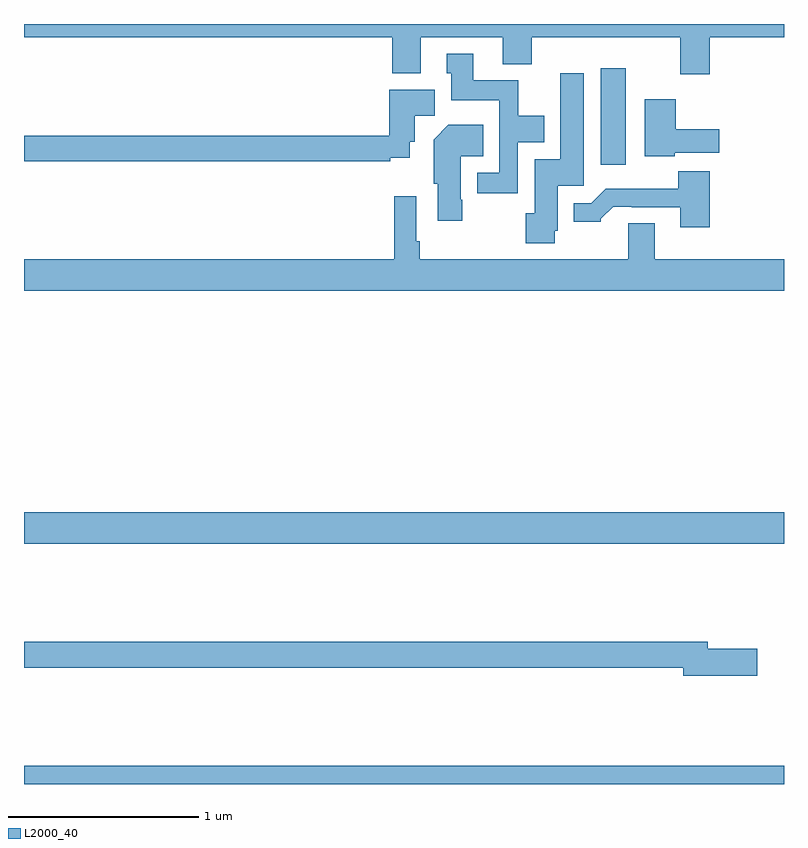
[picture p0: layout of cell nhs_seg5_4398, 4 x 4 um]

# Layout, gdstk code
import gdstk
lib = gdstk.Library(unit=1e-6, precision=1e-09)
def R(c, l, rs):  # rectangles x0, y0, x1, y1
    for r in rs: c.add(gdstk.rectangle(r[:2], r[2:], *l))
def P(c, l, *ps):  # polygons
    for p in ps: c.add(gdstk.Polygon(p, *l))
L2000_40 = (2000, 40)

nhs_seg5_4398 = lib.new_cell('nhs_seg5_4398')
R(nhs_seg5_4398, L2000_40, [(369,884.799,373,884.896), (369,886.064,373,886.228), (372.035,888.057,372.166,888.565)])
P(nhs_seg5_4398, L2000_40, [(372.608,888.728),(373,888.728),(373,888.799),(369,888.799),(369,888.728),(370.937,888.728),(370.937,888.539),(371.089,888.539),(371.089,888.728),(371.519,888.728),(371.519,888.587),(371.672,888.587),(371.672,888.728),(372.455,888.728),(372.455,888.534),(372.608,888.534)],
  [(371.598,888.176),(371.737,888.176),(371.737,888.316),(371.601,888.316),(371.601,888.502),(371.365,888.502),(371.365,888.643),(371.225,888.643),(371.225,888.54),(371.249,888.54),(371.249,888.398),(371.502,888.398),(371.502,888.015),(371.385,888.015),(371.385,887.907),(371.598,887.907)],
  [(371.793,887.712),(371.809,887.712),(371.809,887.949),(371.947,887.949),(371.947,888.541),(371.822,888.541),(371.822,888.088),(371.687,888.088),(371.687,887.802),(371.641,887.802),(371.641,887.646),(371.793,887.646)],
  [(370.928,888.095),(371.031,888.095),(371.031,888.18),(371.056,888.18),(371.056,888.316),(371.161,888.316),(371.161,888.454),(370.922,888.454),(370.922,888.212),(369,888.212),(369,888.076),(370.928,888.076)],
  [(372.426,888.122),(372.658,888.122),(372.658,888.244),(372.43,888.244),(372.43,888.403),(372.266,888.403),(372.266,888.104),(372.426,888.104)],
  [(371.307,887.875),(371.299,887.875),(371.299,888.104),(371.417,888.104),(371.417,888.268),(371.234,888.268),(371.156,888.19),(371.156,887.958),(371.177,887.958),(371.177,887.763),(371.307,887.763)],
  [(372.608,888.025),(372.443,888.025),(372.443,887.932),(372.061,887.932),(371.985,887.856),(371.894,887.856),(371.894,887.759),(372.036,887.759),(372.036,887.774),(372.1,887.838),(372.199,887.838),(372.199,887.835),(372.455,887.835),(372.455,887.73),(372.608,887.73)],
  [(373,887.56),(372.319,887.56),(372.319,887.75),(372.179,887.75),(372.179,887.56),(371.084,887.56),(371.084,887.656),(371.064,887.656),(371.064,887.893),(370.948,887.893),(370.948,887.56),(369,887.56),(369,887.396),(373,887.396)],
  [(372.859,885.512),(372.598,885.512),(372.598,885.548),(369,885.548),(369,885.412),(372.47,885.412),(372.47,885.37),(372.859,885.37)])

lib.write_gds('nhs_seg5_4398.gds')
